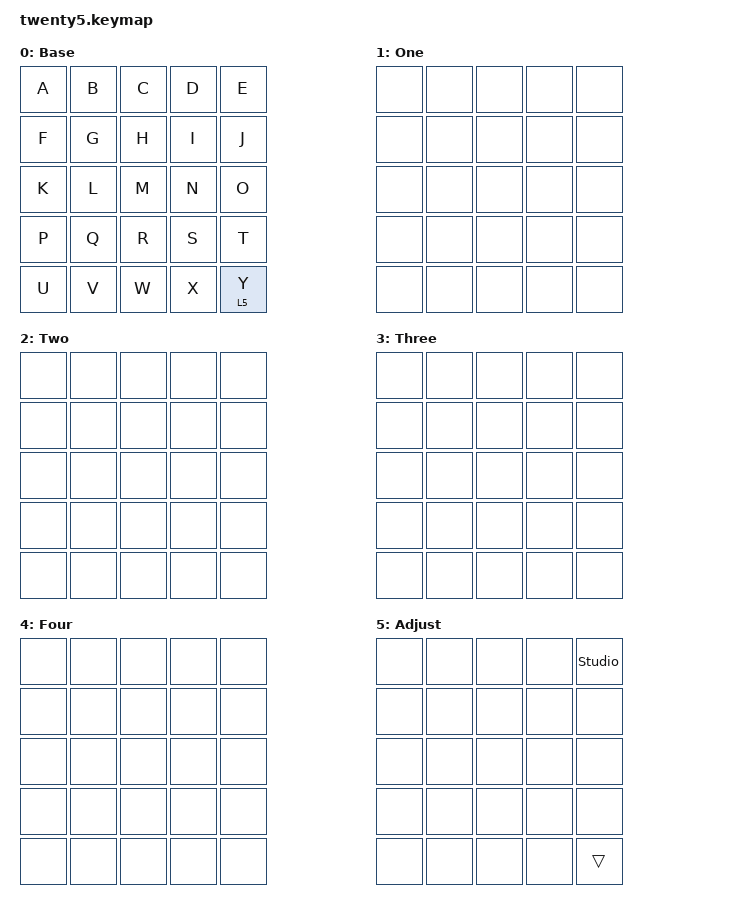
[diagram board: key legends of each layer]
#include <behaviors.dtsi>
#include <dt-bindings/zmk/keys.h>

/ {
    keymap {
        compatible = "zmk,keymap";

        base { 
            display-name = "Base";
            bindings = <
                &kp A    &kp B    &kp C    &kp D    &kp E
                &kp F    &kp G    &kp H    &kp I    &kp J
                &kp K    &kp L    &kp M    &kp N    &kp O
                &kp P    &kp Q    &kp R    &kp S    &kp T
                &kp U    &kp V    &kp W    &kp X    &lt 5 Y
            >;
        };
        one {
            display-name = "One";
            bindings = <
                &none    &none    &none    &none    &none
                &none    &none    &none    &none    &none
                &none    &none    &none    &none    &none
                &none    &none    &none    &none    &none
                &none    &none    &none    &none    &none
            >;
        };

        two {
            display-name = "Two";
            bindings = <
                &none    &none    &none    &none    &none
                &none    &none    &none    &none    &none
                &none    &none    &none    &none    &none
                &none    &none    &none    &none    &none
                &none    &none    &none    &none    &none
            >;
        };

        three {
            display-name = "Three";
            bindings = <
                &none    &none    &none    &none    &none
                &none    &none    &none    &none    &none
                &none    &none    &none    &none    &none
                &none    &none    &none    &none    &none
                &none    &none    &none    &none    &none
            >;
        };

        four {
            display-name = "Four";
            bindings = <
                &none    &none    &none    &none    &none
                &none    &none    &none    &none    &none
                &none    &none    &none    &none    &none
                &none    &none    &none    &none    &none
                &none    &none    &none    &none    &none
            >;
        };

        adjust {
            display-name = "Adjust";
            bindings = <
                &none    &none    &none    &none    &studio_unlock
                &none    &none    &none    &none    &none
                &none    &none    &none    &none    &none
                &none    &none    &none    &none    &none
                &none    &none    &none    &none    &trans
            >;
        };

    };
 };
